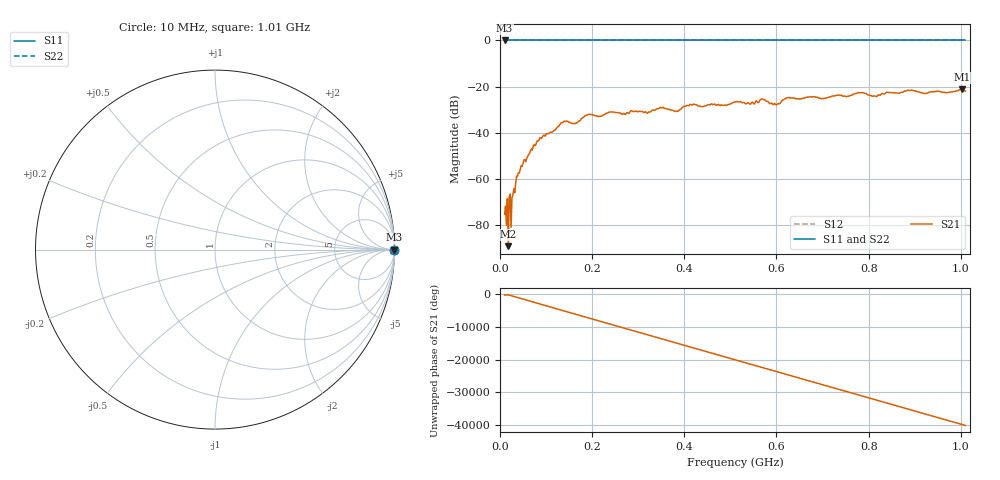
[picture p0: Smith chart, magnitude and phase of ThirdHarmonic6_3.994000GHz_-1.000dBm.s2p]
! 8/17/2025 2:15:19 PM
! C:\ANRITSUVNA\TEMP\TEMP.S2P
! CHANNEL.1
! TR.MEASUREMENT
! RAW.DATA
! RF.CORRECTION.OFF
! AVERAGING.OFF
! IF.BANDWIDTH: 5KHZ
! SWEEPTYPE:  FREQ.SWEEP(Linear)
! Reference Plane Port Info
! PORT:  PORT1  PORT2
! DISTANCE:  0  m  0  m
! TIME:  0  s  0  s
! PHASE.OFFSET:  0  deg.  0  deg.
! LOSS:  0  dB  0  dB
! REF.LOSS:  0  dB  0  dB
! REF.FREQ:  0  Hz  0  Hz
! Power Info
! POWER:  -20  dBm  -20  dBm
! EFF.POWER:  -20  dBm  -20  dBm
! SOURCE.ATTEN:  0  dB  0  dB
! TEST.ATTEN:  0  dB  0  dB
# GHZ S RI R 50.0
! FREQ.GHZ  S11RE  S11IM  S21RE  S21IM  S12RE  S12IM  S22RE  S22IM
!; PortSelection: Port_12
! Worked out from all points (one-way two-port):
!   501 points, 10 MHz to 1.01 GHz, reference 50 ohm
!   highest |S21| = -21.25 dB at 1.002 GHz (marker M1); lowest = -89.3 dB at 18 MHz (marker M2)
!   lowest |S11| = 0.0 dB at 10 MHz (marker M3)
!   |S11| at or under -10 dB: nowhere
!   |S22| runs from 0.0 to 0.0 dB; largest |S21 - S12| = 1.1
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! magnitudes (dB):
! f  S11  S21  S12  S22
! 10 MHz  0.0  -75.5  0.0  0.0
! 18 MHz  0.0  -89.3  0.0  0.0
! 28 MHz  0.0  -67.0  0.0  0.0
! 30 MHz  0.0  -64.4  0.0  0.0
! 38 MHz  0.0  -58.9  0.0  0.0
! 48 MHz  0.0  -54.6  0.0  0.0
! 84 MHz  0.0  -43.5  0.0  0.0
! 136 MHz  0.0  -35.6  0.0  0.0
! 162 MHz  0.0  -36.0  0.0  0.0
! 178 MHz  0.0  -33.7  0.0  0.0
! 344 MHz  0.0  -29.6  0.0  0.0
! 382 MHz  0.0  -30.7  0.0  0.0
! 416 MHz  0.0  -28.0  0.0  0.0
! 510 MHz  0.0  -26.7  0.0  0.0
! 570 MHz  0.0  -25.4  0.0  0.0
! 596 MHz  0.0  -27.3  0.0  0.0
! 624 MHz  0.0  -24.8  0.0  0.0
! 678 MHz  0.0  -24.4  0.0  0.0
! 814 MHz  0.0  -24.1  0.0  0.0
! 844 MHz  0.0  -22.6  0.0  0.0
! 1.002 GHz  0.0  -21.3  0.0  0.0
! 1.01 GHz  0.0  -22.0  0.0  0.0
